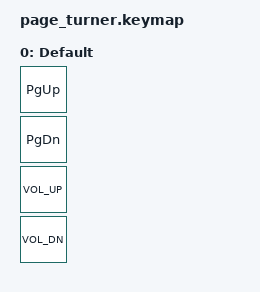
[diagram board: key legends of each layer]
/*
 * Copyright (c) 2026 The ZMK Contributors
 *
 * SPDX-License-Identifier: MIT
 */

#include <behaviors.dtsi>
#include <dt-bindings/zmk/keys.h>

/*
 * Four-key page turner, in the same order as page_turner.overlay:
 *   1. previous page  2. next page  3. volume up  4. volume down
 *
 * Page Up / Page Down are keyboard HID usages. Volume keys are consumer
 * control usages (C_VOL_UP / C_VOL_DN).
 */

/ {
    keymap {
        compatible = "zmk,keymap";

        default_layer {
            display-name = "Default";
            bindings = <
                &kp PG_UP
                &kp PG_DN
                &kp C_VOL_UP
                &kp C_VOL_DN
            >;
        };
    };
};
